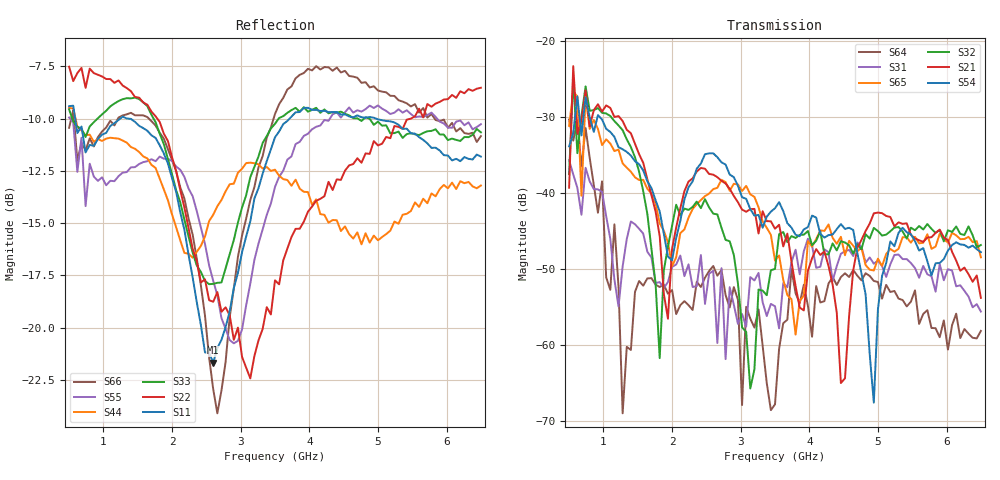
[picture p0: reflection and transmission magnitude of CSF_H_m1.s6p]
!Keysight Technologies,M9804A,MY58100912,A.14.10.03
!Date: Thursday, April 27, 2023 10:28:33
!Correction: S11(C  6-Port  )
!S12(C  6-Port  )
!S13(C  6-Port  )
!S14(C  6-Port  )
!S15(C  6-Port  )
!S16(C  6-Port  )
!S21(C  6-Port  )
!S22(C  6-Port  )
!S23(C  6-Port  )
!S24(C  6-Port  )
!S25(C  6-Port  )
!S26(C  6-Port  )
!S31(C  6-Port  )
!S32(C  6-Port  )
!S33(C  6-Port  )
!S34(C  6-Port  )
!S35(C  6-Port  )
!S36(C  6-Port  )
!S41(C  6-Port  )
!S42(C  6-Port  )
!S43(C  6-Port  )
!S44(C  6-Port  )
!S45(C  6-Port  )
!S46(C  6-Port  )
!S51(C  6-Port  )
!S52(C  6-Port  )
!S53(C  6-Port  )
!S54(C  6-Port  )
!S55(C  6-Port  )
!S56(C  6-Port  )
!S61(C  6-Port  )
!S62(C  6-Port  )
!S63(C  6-Port  )
!S64(C  6-Port  )
!S65(C  6-Port  )
!S66(C  6-Port  )
!S6P File: Measurement: :
# Hz S  RI  R 50
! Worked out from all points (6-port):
!   101 points, 500 MHz to 6.5 GHz, reference 50 ohm
!   strongest paths, dB at 500 MHz, 2 GHz, 3.5 GHz, 5 GHz, 6.5 GHz:
!     S54: -33.8, -48.9, -42.0, -55.3, -47.8
!     S21: -39.3, -47.3, -44.7, -42.6, -53.8
!     S32: -37.5, -44.3, -50.0, -45.0, -46.8
!     S65: -31.1, -49.6, -48.9, -48.6, -48.5
!     S31: -35.7, -49.7, -54.9, -48.9, -55.6
!     S64: -30.3, -52.8, -67.9, -51.7, -58.2
!   lowest |S11| = -21.7 dB at 2.6 GHz (marker M1), VSWR 1.18, Z = 42.6 + j2 ohm
!   |S11| at or under -10 dB: 588.3 MHz to 1.245 GHz (656.7 MHz wide, 71.6 % of centre); 1.358 GHz to 3.713 GHz (2.355 GHz wide, 92.9 % of centre); 4.972 GHz to end of sweep
